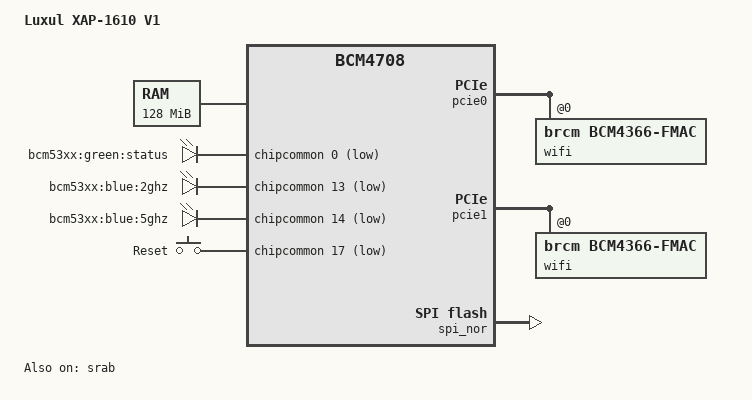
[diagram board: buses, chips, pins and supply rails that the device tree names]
// SPDX-License-Identifier: GPL-2.0-or-later OR MIT
/*
 * Copyright 2018 Luxul Inc.
 */

/dts-v1/;

#include "bcm47094.dtsi"

/ {
	compatible = "luxul,xap-1610-v1", "brcm,bcm47094", "brcm,bcm4708";
	model = "Luxul XAP-1610 V1";

	chosen {
		bootargs = "earlycon";
	};

	memory@0 {
		device_type = "memory";
		reg = <0x00000000 0x08000000>;
	};

	nvram@1eff0000 {
		compatible = "brcm,nvram";
		reg = <0x1eff0000 0x10000>;

		et0macaddr: et0macaddr {
		};
	};

	leds {
		compatible = "gpio-leds";

		led-status {
			label = "bcm53xx:green:status";
			gpios = <&chipcommon 0 GPIO_ACTIVE_LOW>;
			linux,default-trigger = "timer";
		};

		led-2ghz {
			label = "bcm53xx:blue:2ghz";
			gpios = <&chipcommon 13 GPIO_ACTIVE_LOW>;
		};

		led-5ghz {
			label = "bcm53xx:blue:5ghz";
			gpios = <&chipcommon 14 GPIO_ACTIVE_LOW>;
		};
	};

	gpio-keys {
		compatible = "gpio-keys";

		button-restart {
			label = "Reset";
			linux,code = <KEY_RESTART>;
			gpios = <&chipcommon 17 GPIO_ACTIVE_LOW>;
		};
	};
};

&gmac0 {
	nvmem-cells = <&et0macaddr>;
	nvmem-cell-names = "mac-address";
};


&pcie0 {
	#address-cells = <3>;
	#size-cells = <2>;

	bridge@0,0 {
		reg = <0x0000 0 0 0 0>;

		#address-cells = <3>;
		#size-cells = <2>;

		wifi@0,0 {
			compatible = "brcm,bcm4366-fmac", "brcm,bcm4329-fmac";
			reg = <0x0000 0 0 0 0>;
			brcm,ccode-map = "AU-AU-920", "CA-CA-892", "GB-DE-964", "NZ-AU-920", "US-US-825";
		};
	};
};

&pcie1 {
	#address-cells = <3>;
	#size-cells = <2>;

	bridge@0,0 {
		reg = <0x0000 0 0 0 0>;

		#address-cells = <3>;
		#size-cells = <2>;

		wifi@0,0 {
			compatible = "brcm,bcm4366-fmac", "brcm,bcm4329-fmac";
			reg = <0x0000 0 0 0 0>;
			brcm,ccode-map = "AU-AU-920", "CA-CA-892", "GB-DE-964", "NZ-AU-920", "US-US-825";
		};
	};
};

&spi_nor {
	status = "okay";
};

&srab {
	status = "okay";

	ports {
		port@0 {
			label = "poe";
		};

		port@1 {
			label = "lan";
		};

		port@5 {
			label = "cpu";
		};
	};
};
